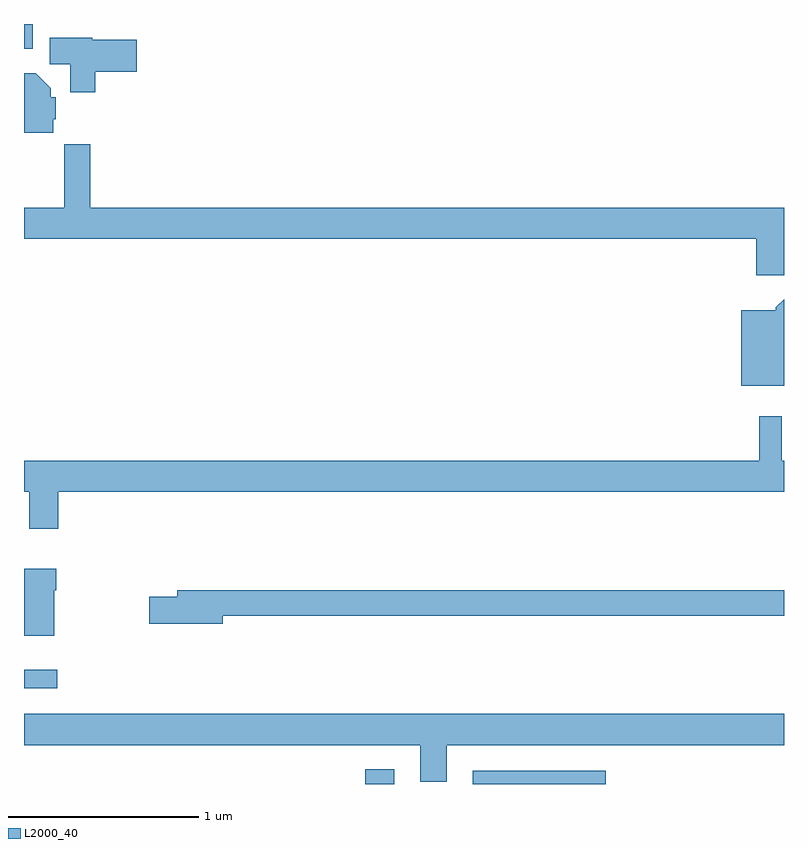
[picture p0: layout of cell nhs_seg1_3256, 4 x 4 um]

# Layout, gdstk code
import gdstk
lib = gdstk.Library(unit=1e-6, precision=1e-09)
def R(c, l, rs):  # rectangles x0, y0, x1, y1
    for r in rs: c.add(gdstk.rectangle(r[:2], r[2:], *l))
def P(c, l, *ps):  # polygons
    for p in ps: c.add(gdstk.Polygon(p, *l))
L2000_40 = (2000, 40)

nhs_seg1_3256 = lib.new_cell('nhs_seg1_3256')
R(nhs_seg1_3256, L2000_40, [(288.797,546.199,288.949,546.277), (289.361,546.199,290.062,546.268), (287,546.704,287.176,546.801), (287,550.07,287.047,550.199)])
P(nhs_seg1_3256, L2000_40, [(287.375,549.947),(287.593,549.947),(287.593,550.117),(287.358,550.117),(287.358,550.126),(287.135,550.126),(287.135,549.988),(287.243,549.988),(287.243,549.84),(287.375,549.84)],
  [(287.153,549.699),(287.166,549.699),(287.166,549.813),(287.14,549.813),(287.14,549.862),(287.062,549.94),(287,549.94),(287,549.626),(287.153,549.626)],
  [(291,549.232),(287.348,549.232),(287.348,549.565),(287.212,549.565),(287.212,549.232),(287,549.232),(287,549.068),(290.855,549.068),(290.855,548.877),(291,548.877)],
  [(291,548.75),(290.957,548.707),(290.957,548.692),(290.774,548.692),(290.774,548.294),(291,548.294)],
  [(287.18,547.736),(291,547.736),(291,547.9),(290.987,547.9),(290.987,548.134),(290.869,548.134),(290.869,547.9),(287,547.9),(287,547.736),(287.027,547.736),(287.027,547.542),(287.18,547.542)],
  [(287.158,547.22),(287.171,547.22),(287.171,547.333),(287,547.333),(287,546.98),(287.158,546.98)],
  [(288.046,547.084),(291,547.084),(291,547.22),(287.807,547.22),(287.807,547.184),(287.658,547.184),(287.658,547.042),(288.046,547.042)],
  [(289.225,546.404),(291,546.404),(291,546.568),(287,546.568),(287,546.404),(289.085,546.404),(289.085,546.21),(289.225,546.21)])

lib.write_gds('nhs_seg1_3256.gds')
